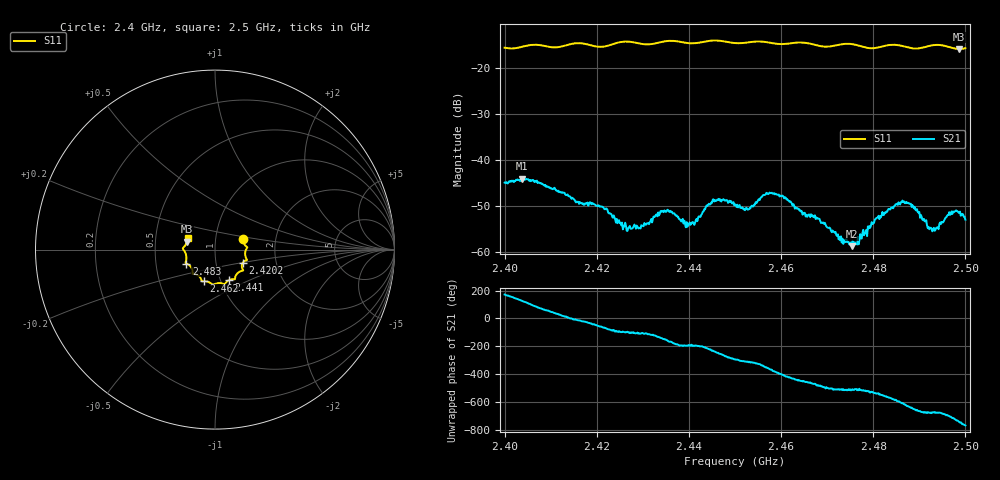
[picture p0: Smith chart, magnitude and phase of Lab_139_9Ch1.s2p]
# Hz S RI R 50
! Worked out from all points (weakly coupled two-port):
!   601 points, 2.4 GHz to 2.5 GHz, reference 50 ohm
!   highest |S21| = -44.08 dB at 2.4038 GHz (marker M1); lowest = -58.7 dB at 2.4753 GHz (marker M2)
!   lowest |S11| = -15.8 dB at 2.4987 GHz (marker M3), VSWR 1.39, Z = 36.4 + j3.27 ohm
!   |S11| at or under -10 dB: start of sweep to end of sweep
!   S12 and S22 are empty: the file has one direction only
!   S11 on the Smith chart (normalised r, x): 2.4 GHz: 1.36, +0.17; 2.4202 GHz: 1.35, -0.20; 2.441 GHz: 1.09, -0.39; 2.462 GHz: 0.83, -0.30; 2.483 GHz: 0.72, -0.12; 2.5 GHz: 0.73, +0.09
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2.4e9  0.1562 0.0602  -0.00562 0.000855  0 0  0 0
2.403833e9  0.1705 0.0208  -0.00358 0.00513  0 0  0 0
2.416667e9  0.1775 -0.0585  0.00322 -0.00111  0 0  0 0
2.420167e9  0.156 -0.0719  0.00192 -0.0025  0 0  0 0
2.427e9  0.1559 -0.117  -0.000287 -0.00184  0 0  0 0
2.433333e9  0.1129 -0.1524  -0.00178 -0.00202  0 0  0 0
2.435833e9  0.111 -0.1649  -0.00266 -0.000593  0 0  0 0
2.441e9  0.0768 -0.1706  -0.00199 0.000587  0 0  0 0
2.445667e9  0.0526 -0.1937  -0.00198 0.00308  0 0  0 0
2.45e9  0.0267 -0.1862  0.00131 0.00302  0 0  0 0
2.453e9  -0.000232 -0.1917  0.00201 0.00212  0 0  0 0
2.457333e9  -0.0203 -0.1897  0.0043 8.04e-05  0 0  0 0
2.462e9  -0.0619 -0.1762  0.00157 -0.00319  0 0  0 0
2.466667e9  -0.0765 -0.1668  -0.000624 -0.00238  0 0  0 0
2.475333e9  -0.1254 -0.1338  -0.001 -0.000576  0 0  0 0
2.483e9  -0.1594 -0.0781  -0.00253 0.00103  0 0  0 0
2.483333e9  -0.161 -0.0774  -0.00263 0.00131  0 0  0 0
2.487667e9  -0.1596 -0.052  1.22e-05 0.00341  0 0  0 0
2.493e9  -0.1784 0.00301  0.00119 0.00133  0 0  0 0
2.4965e9  -0.1691 0.0195  0.00253 0.000968  0 0  0 0
2.498667e9  -0.156 0.0438  0.00247 -0.000954  0 0  0 0
2.5e9  -0.153 0.0626  0.00156 -0.00162  0 0  0 0
